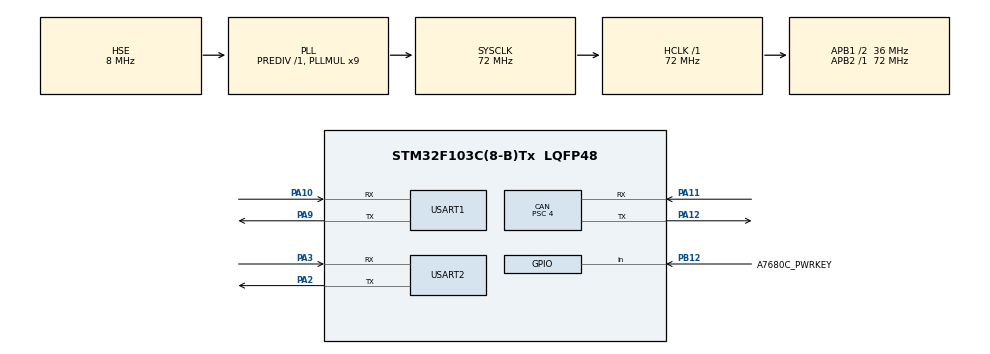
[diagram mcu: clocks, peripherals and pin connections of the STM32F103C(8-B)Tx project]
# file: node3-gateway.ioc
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CAN.BS1=CAN_BS1_15TQ
CAN.BS2=CAN_BS2_2TQ
CAN.CalculateBaudRate=500000
CAN.CalculateTimeBit=2000
CAN.CalculateTimeQuantum=111.11111111111111
CAN.Prescaler=4
FREERTOS.INCLUDE_uxTaskGetStackHighWaterMark=1
FREERTOS.INCLUDE_vTaskDelayUntil=1
FREERTOS.Tasks01=defaultTask,0,128,StartDefaultTask,Default,NULL,Dynamic,NULL,NULL
FREERTOS.configCHECK_FOR_STACK_OVERFLOW=2
FREERTOS.configTOTAL_HEAP_SIZE=10240
FREERTOS.configUSE_NEWLIB_REENTRANT=1
Mcu.Family=STM32F1
Mcu.Name=STM32F103C(8-B)Tx
Mcu.Package=LQFP48
NVIC.PriorityGroup=NVIC_PRIORITYGROUP_4
NVIC.TIM4_IRQn=true\:15\:0\:false\:false\:true\:false\:false\:true\:true
NVIC.TimeBase=TIM4_IRQn
NVIC.TimeBaseIP=TIM4
NVIC.USART2_IRQn=true\:6\:0\:true\:false\:true\:true\:true\:true\:true
NVIC.USB_LP_CAN1_RX0_IRQn=true\:5\:0\:true\:false\:true\:true\:true\:true\:true
PA10.Mode=Asynchronous
PA10.Signal=USART1_RX
PA11.Mode=CAN_Activate
PA11.Signal=CAN_RX
PA12.Mode=CAN_Activate
PA12.Signal=CAN_TX
PA13.Mode=Serial_Wire
PA13.Signal=SYS_JTMS-SWDIO
PA14.Mode=Serial_Wire
PA14.Signal=SYS_JTCK-SWCLK
PA2.Mode=Asynchronous
PA2.Signal=USART2_TX
PA3.Mode=Asynchronous
PA3.Signal=USART2_RX
PA9.Mode=Asynchronous
PA9.Signal=USART1_TX
PB12.GPIO_Label=A7680C_PWRKEY
PB12.Signal=GPIO_Input
PD0-OSC_IN.Mode=HSE-External-Oscillator
PD0-OSC_IN.Signal=RCC_OSC_IN
PD1-OSC_OUT.Mode=HSE-External-Oscillator
PD1-OSC_OUT.Signal=RCC_OSC_OUT
ProjectManager.HeapSize=0x200
ProjectManager.StackSize=0x400
ProjectManager.TargetToolchain=STM32CubeIDE
RCC.AHBFreq_Value=72000000
RCC.APB1CLKDivider=RCC_HCLK_DIV2
RCC.APB1Freq_Value=36000000
RCC.APB1TimFreq_Value=72000000
RCC.APB2Freq_Value=72000000
RCC.APB2TimFreq_Value=72000000
RCC.HCLKFreq_Value=72000000
RCC.PLLMUL=RCC_PLL_MUL9
RCC.PLLSourceVirtual=RCC_PLLSOURCE_HSE
RCC.SYSCLKFreq_VALUE=72000000
RCC.SYSCLKSource=RCC_SYSCLKSOURCE_PLLCLK
RCC.USBFreq_Value=72000000
USART1.VirtualMode=VM_ASYNC
USART2.VirtualMode=VM_ASYNC
VP_FREERTOS_VS_CMSIS_V1.Mode=CMSIS_V1
VP_SYS_VS_tim4.Mode=TIM4
board=custom

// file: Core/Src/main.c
/**
 * @file main.c
 * @brief Peripheral initialization and application task startup.
 */

/* USER CODE BEGIN Header */
/* USER CODE END Header */
#include "main.h"
#include "cmsis_os.h"

/* USER CODE BEGIN Includes */
#include "app_ipc.h"
#include "bsp_board.h"
#include "task_alarm.h"
#include "task_call.h"
#include "task_modem_at.h"
/* USER CODE END Includes */

CAN_HandleTypeDef hcan;

UART_HandleTypeDef huart1;
UART_HandleTypeDef huart2;

osThreadId defaultTaskHandle;

/**
  * @brief Configure the HSE/PLL system clock and peripheral bus dividers.
  * @retval None
  */
void SystemClock_Config(void);
/**
  * @brief Initialize board pin modes and initial output levels.
  * @retval None
  */
static void MX_GPIO_Init(void);
/**
  * @brief Initialize CAN1 standard bus timing at 500 kbit/s.
  * @retval None
  */
static void MX_CAN_Init(void);
/**
  * @brief Initialize the USART1 serial interface.
  * @retval None
  */
static void MX_USART1_UART_Init(void);
/**
  * @brief Initialize the modem USART2 interface at 115200 baud.
  * @retval None
  */
static void MX_USART2_UART_Init(void);
/**
 * @brief Delete the CubeMX default task after application tasks have been created.
 * @param[in] argument Unused CMSIS-RTOS task argument.
 */
void StartDefaultTask(void const * argument);

int main(void)
{

  /* MCU Configuration--------------------------------------------------------*/

  /* Reset of all peripherals, Initializes the Flash interface and the Systick. */
  HAL_Init();

  /* USER CODE BEGIN Init */
    bsp_board_set_init_step(BOARD_ERR_OSCILLATOR);
  /* USER CODE END Init */

  /* Configure the system clock */
  SystemClock_Config();

  /* Initialize all configured peripherals */
  MX_GPIO_Init();
  MX_CAN_Init();
  MX_USART1_UART_Init();
  MX_USART2_UART_Init();
  /* USER CODE BEGIN 2 */
    bsp_board_init();
  /* USER CODE END 2 */

  /* USER CODE BEGIN RTOS_QUEUES */
    if (!app_ipc_init()) {
        bsp_board_fail(BOARD_ERR_QUEUE);
    }
  /* USER CODE END RTOS_QUEUES */

  /* Create the thread(s) */
  /* definition and creation of defaultTask */
  osThreadDef(defaultTask, StartDefaultTask, osPriorityNormal, 0, 128);
  defaultTaskHandle = osThreadCreate(osThread(defaultTask), NULL);

  /* USER CODE BEGIN RTOS_THREADS */
    if (task_alarm_create() != pdPASS || task_call_create() != pdPASS ||
        task_modem_at_create() != pdPASS) {
        bsp_board_fail(BOARD_ERR_TASK);
    }
  /* USER CODE END RTOS_THREADS */

  /* Start scheduler */
  osKernelStart();

  /* We should never get here as control is now taken by the scheduler */

  /* Infinite loop */
  /* USER CODE BEGIN WHILE */
    bsp_board_fail(BOARD_ERR_SCHEDULER);

    while (1) {
    /* USER CODE END WHILE */

    }
}

void SystemClock_Config(void)
{
  RCC_OscInitTypeDef RCC_OscInitStruct = {0};
  RCC_ClkInitTypeDef RCC_ClkInitStruct = {0};

  /** Initializes the RCC Oscillators according to the specified parameters
  * in the RCC_OscInitTypeDef structure.
  */
  RCC_OscInitStruct.OscillatorType = RCC_OSCILLATORTYPE_HSE;
  RCC_OscInitStruct.HSEState = RCC_HSE_ON;
  RCC_OscInitStruct.HSEPredivValue = RCC_HSE_PREDIV_DIV1;
  RCC_OscInitStruct.HSIState = RCC_HSI_ON;
  RCC_OscInitStruct.PLL.PLLState = RCC_PLL_ON;
  RCC_OscInitStruct.PLL.PLLSource = RCC_PLLSOURCE_HSE;
  RCC_OscInitStruct.PLL.PLLMUL = RCC_PLL_MUL9;
  if (HAL_RCC_OscConfig(&RCC_OscInitStruct) != HAL_OK)
  {
    Error_Handler();
  }

  /** Initializes the CPU, AHB and APB buses clocks
  */
  RCC_ClkInitStruct.ClockType = RCC_CLOCKTYPE_HCLK|RCC_CLOCKTYPE_SYSCLK
                              |RCC_CLOCKTYPE_PCLK1|RCC_CLOCKTYPE_PCLK2;
  RCC_ClkInitStruct.SYSCLKSource = RCC_SYSCLKSOURCE_PLLCLK;
  RCC_ClkInitStruct.AHBCLKDivider = RCC_SYSCLK_DIV1;
  RCC_ClkInitStruct.APB1CLKDivider = RCC_HCLK_DIV2;
  RCC_ClkInitStruct.APB2CLKDivider = RCC_HCLK_DIV1;

  if (HAL_RCC_ClockConfig(&RCC_ClkInitStruct, FLASH_LATENCY_2) != HAL_OK)
  {
    Error_Handler();
  }
}

static void MX_CAN_Init(void)
{

  /* USER CODE BEGIN CAN_Init 0 */
    bsp_board_set_init_step(BOARD_ERR_CAN_INIT);
  /* USER CODE END CAN_Init 0 */

  hcan.Instance = CAN1;
  hcan.Init.Prescaler = 4;
  hcan.Init.Mode = CAN_MODE_NORMAL;
  hcan.Init.SyncJumpWidth = CAN_SJW_1TQ;
  hcan.Init.TimeSeg1 = CAN_BS1_15TQ;
  hcan.Init.TimeSeg2 = CAN_BS2_2TQ;
  hcan.Init.TimeTriggeredMode = DISABLE;
  hcan.Init.AutoBusOff = DISABLE;
  hcan.Init.AutoWakeUp = DISABLE;
  hcan.Init.AutoRetransmission = DISABLE;
  hcan.Init.ReceiveFifoLocked = DISABLE;
  hcan.Init.TransmitFifoPriority = DISABLE;
  if (HAL_CAN_Init(&hcan) != HAL_OK)
  {
    Error_Handler();
  }

}

static void MX_USART1_UART_Init(void)
{

  /* USER CODE BEGIN USART1_Init 0 */
    bsp_board_set_init_step(BOARD_ERR_UART1_INIT);
  /* USER CODE END USART1_Init 0 */

  huart1.Instance = USART1;
  huart1.Init.BaudRate = 115200;
  huart1.Init.WordLength = UART_WORDLENGTH_8B;
  huart1.Init.StopBits = UART_STOPBITS_1;
  huart1.Init.Parity = UART_PARITY_NONE;
  huart1.Init.Mode = UART_MODE_TX_RX;
  huart1.Init.HwFlowCtl = UART_HWCONTROL_NONE;
  huart1.Init.OverSampling = UART_OVERSAMPLING_16;
  if (HAL_UART_Init(&huart1) != HAL_OK)
  {
    Error_Handler();
  }

}

static void MX_USART2_UART_Init(void)
{

  /* USER CODE BEGIN USART2_Init 0 */
    bsp_board_set_init_step(BOARD_ERR_UART2_INIT);
  /* USER CODE END USART2_Init 0 */

  huart2.Instance = USART2;
  huart2.Init.BaudRate = 115200;
  huart2.Init.WordLength = UART_WORDLENGTH_8B;
  huart2.Init.StopBits = UART_STOPBITS_1;
  huart2.Init.Parity = UART_PARITY_NONE;
  huart2.Init.Mode = UART_MODE_TX_RX;
  huart2.Init.HwFlowCtl = UART_HWCONTROL_NONE;
  huart2.Init.OverSampling = UART_OVERSAMPLING_16;
  if (HAL_UART_Init(&huart2) != HAL_OK)
  {
    Error_Handler();
  }

}

static void MX_GPIO_Init(void)
{
  GPIO_InitTypeDef GPIO_InitStruct = {0};

  /* GPIO Ports Clock Enable */
  __HAL_RCC_GPIOD_CLK_ENABLE();
  __HAL_RCC_GPIOA_CLK_ENABLE();
  __HAL_RCC_GPIOB_CLK_ENABLE();

  /*Configure GPIO pin : A7680C_PWRKEY_Pin */
  GPIO_InitStruct.Pin = A7680C_PWRKEY_Pin;
  GPIO_InitStruct.Mode = GPIO_MODE_INPUT;
  GPIO_InitStruct.Pull = GPIO_NOPULL;
  HAL_GPIO_Init(A7680C_PWRKEY_GPIO_Port, &GPIO_InitStruct);

}

/**
 * @brief Delete the CubeMX default task after application tasks have been created.
 * @param[in] argument Unused CMSIS-RTOS task argument.
 */
void StartDefaultTask(void const * argument)
{
  /* USER CODE BEGIN 5 */
    (void)argument;
    vTaskDelete(NULL);
  /* USER CODE END 5 */
}

void HAL_TIM_PeriodElapsedCallback(TIM_HandleTypeDef *htim)
{
  if (htim->Instance == TIM4)
  {
    HAL_IncTick();
  }
}

void Error_Handler(void)
{
  /* USER CODE BEGIN Error_Handler_Debug */
    bsp_board_record_error();

    __disable_irq();
    while (1) {
    }
  /* USER CODE END Error_Handler_Debug */
}
